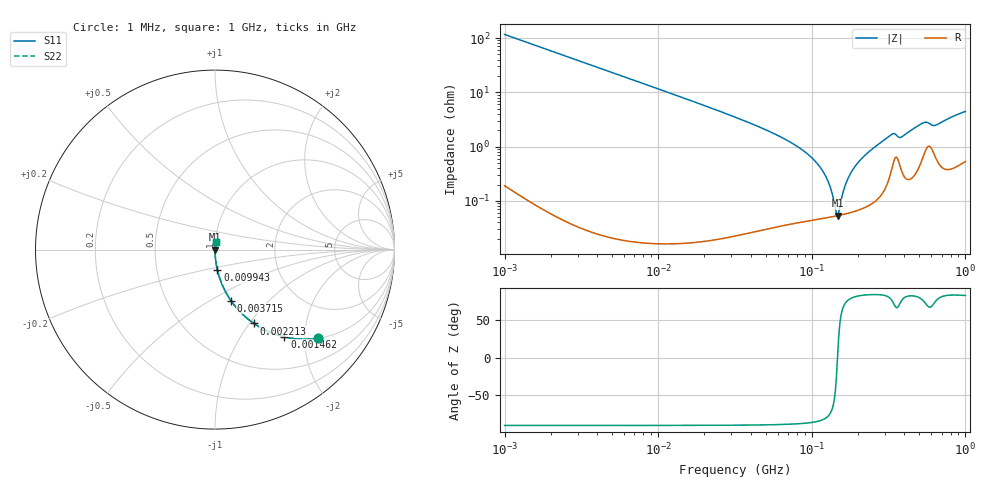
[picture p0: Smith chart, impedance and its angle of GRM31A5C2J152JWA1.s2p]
!Murata Part Number: GRM31A5C2J152JWA1
!These Parameters are Measured in Series Mode Connection
!Data Generated on Mar 30, 2021
!  o--ll--o
!Port1  Port2
!  o------o
!Operation Temp=25[degC], DC Bias Voltage=0[V]
!Freq. Start=1000[kHz] Stop=1000[MHz] 401[Steps]
# Hz S RI R 50
!Freq.(Hz) S11(Real) S11(Imag) S21(Real) S21(Imag) S12(Real) S12(Imag) S22(Real) S22(Imag)
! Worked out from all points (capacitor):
!   401 points, 1 MHz to 1 GHz, reference 50 ohm
!   read as one part in series: C = 1.37 nF near 1.035 MHz
!   lowest |Z| = 53.4 mohm at 147.1 MHz (marker M1)
!   series resonance near 147 MHz, so ESL is about 860 pH
!   S11 on the Smith chart (normalised r, x): 1 MHz: 1.00, -2.32; 1.462 MHz: 1.00, -1.59; 2.213 MHz: 1.00, -1.05; 3.715 MHz: 1.00, -0.63; 9.943 MHz: 1.00, -0.23; 1 GHz: 1.01, +0.09
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1000000  0.5744 -0.4936  0.4256 0.4936  0.4256 0.4936  0.5744 -0.4936
1462177  0.3872 -0.4865  0.6128 0.4865  0.6128 0.4865  0.3872 -0.4865
2213095  0.2162 -0.4112  0.7838 0.4112  0.7838 0.4112  0.2162 -0.4112
3180534  0.1179 -0.322  0.8821 0.322  0.8821 0.322  0.1179 -0.322
3715352  0.0892 -0.2846  0.9108 0.2846  0.9108 0.2846  0.0892 -0.2846
9942601  0.0135 -0.1147  0.9865 0.1147  0.9865 0.1147  0.0135 -0.1147
1.01158e7  0.013 -0.1128  0.987 0.1128  0.987 0.1128  0.013 -0.1128
3.162278e7  0.00144 -0.0349  0.9986 0.0349  0.9986 0.0349  0.00144 -0.0349
6.645077e7  0.000545 -0.0138  0.9995 0.0138  0.9995 0.0138  0.000545 -0.0138
1.005773e8  0.000476 -0.00611  0.9995 0.00611  0.9995 0.00611  0.000476 -0.00611
1.237371e8  0.000493 -0.00273  0.9995 0.00273  0.9995 0.00273  0.000493 -0.00273
1.420692e8  0.000523 -0.000539  0.9995 0.000539  0.9995 0.000539  0.000523 -0.000539
1.470618e8  0.000533 7e-06  0.9995 -7e-06  0.9995 -7e-06  0.000533 7e-06
1.522299e8  0.000545 0.000554  0.9995 -0.000554  0.9995 -0.000554  0.000545 0.000554
1.659587e8  0.000579 0.00193  0.9994 -0.00193  0.9994 -0.00193  0.000579 0.00193
1.872837e8  0.000647 0.00391  0.9994 -0.00391  0.9994 -0.00391  0.000647 0.00391
2.264644e8  0.000827 0.00724  0.9992 -0.00724  0.9992 -0.00724  0.000827 0.00724
3.198895e8  0.0029 0.0154  0.9971 -0.0154  0.9971 -0.0154  0.0029 0.0154
3.801894e8  0.00407 0.0142  0.9959 -0.0142  0.9959 -0.0142  0.00407 0.0142
5.278372e8  0.00685 0.0261  0.9931 -0.0261  0.9931 -0.0261  0.00685 0.0261
6.382635e8  0.00686 0.0236  0.9931 -0.0236  0.9931 -0.0236  0.00686 0.0236
1e9  0.00719 0.0436  0.9928 -0.0436  0.9928 -0.0436  0.00719 0.0436
